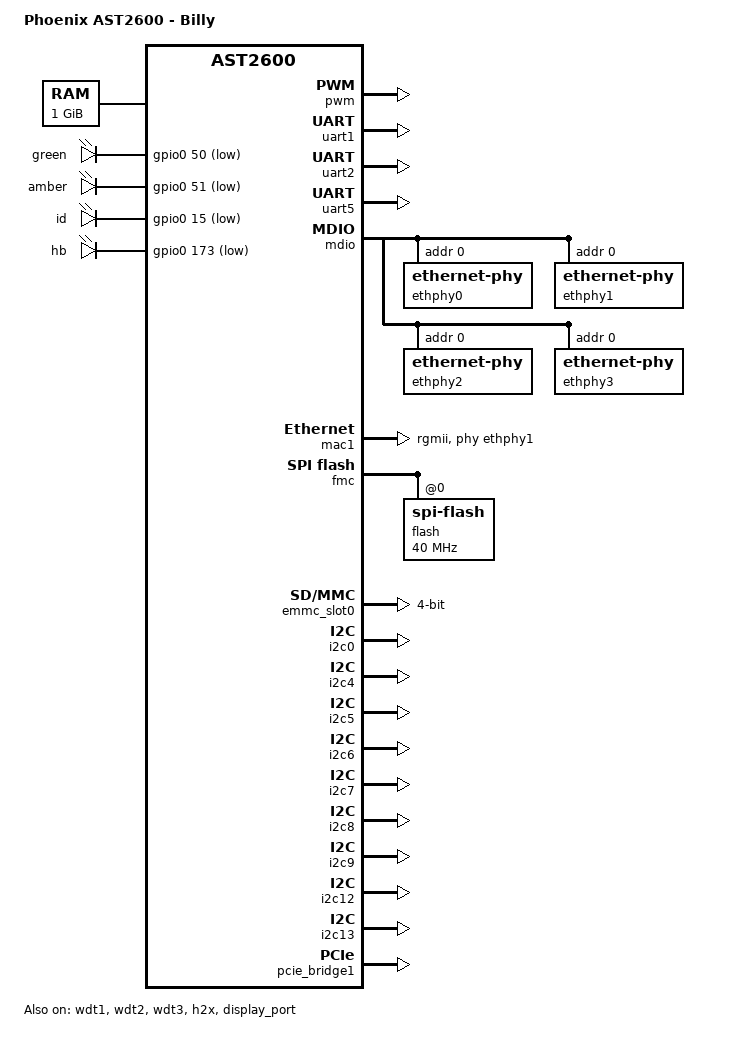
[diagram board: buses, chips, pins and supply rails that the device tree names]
// SPDX-License-Identifier: GPL-2.0+
// Copyright (c) 2019-2021 Intel Corporation
/dts-v1/;

#include "ast2600-u-boot.dtsi"

/ {
	model = "Phoenix AST2600 - Billy";
	compatible = "aspeed,ast2600-intel", "aspeed,ast2600";

	memory {
		device_type = "memory";
		reg = <0x80000000 0x40000000>;
	};

	chosen {
		stdout-path = &uart5;
	};

	aliases {
		mmc0 = &emmc_slot0;
		mmc1 = &sdhci_slot0;
		mmc2 = &sdhci_slot1;
		spi0 = &fmc;
		spi1 = &spi1;
		spi2 = &spi2;
		ethernet0 = &mac0;
		ethernet1 = &mac1;
		ethernet2 = &mac2;
		ethernet3 = &mac3;
	};

	cpus {
		cpu@0 {
			clock-frequency = <1200000000>;
		};
		cpu@1 {
			clock-frequency = <1200000000>;
		};
	};

	system-leds {
		compatible = "gpio-leds";
		green-led {
			label = "green";
			gpios = <&gpio0 50 GPIO_ACTIVE_LOW>;
			default-state = "blink";
		};
		amber-led {
			label = "amber";
			gpios = <&gpio0 51 GPIO_ACTIVE_LOW>;
			default-state = "off";
		};
		id-led {
			label = "id";
			gpios = <&gpio0 15 GPIO_ACTIVE_LOW>;
			default-state = "blink";
		};
		hb-led {
			label = "hb";
			gpios = <&gpio0 173 GPIO_ACTIVE_LOW>;
			default-state = "on";
		};
	};
};

&pwm {
	status = "okay";

	pinctrl-names = "default";
	pinctrl-0 = <&pinctrl_pwm0_default &pinctrl_pwm1_default
		     &pinctrl_pwm2_default &pinctrl_pwm3_default
		     &pinctrl_pwm4_default &pinctrl_pwm5_default
		     &pinctrl_pwm12g1_default &pinctrl_pwm13g1_default
		     &pinctrl_pwm14g1_default &pinctrl_pwm15g1_default>;
};

&gpio0 {
	status = "okay";
};

&uart1 {
	status = "okay";
};

&uart2 {
	status = "okay";
};

&uart5 {
	u-boot,dm-pre-reloc;
	status = "okay";
};

&sdrammc {
	clock-frequency = <400000000>;
};

&wdt1 {
	u-boot,dm-pre-reloc;
	status = "okay";
};

&wdt2 {
	u-boot,dm-pre-reloc;
	status = "okay";
};

&wdt3 {
	u-boot,dm-pre-reloc;
	status = "okay";
};

&mdio {
	status = "okay";
	pinctrl-names = "default";
	pinctrl-0 = <&pinctrl_mdio2_default>;
	#address-cells = <1>;
	#size-cells = <0>;
	ethphy0: ethernet-phy@0 {
		reg = <0>;
	};

	ethphy1: ethernet-phy@1 {
		reg = <0>;
	};

	ethphy2: ethernet-phy@2 {
		reg = <0>;
	};

	ethphy3: ethernet-phy@3 {
		reg = <0>;
	};
};

&mac1 {
	status = "okay";
	phy-mode = "rgmii";
	phy-handle = <&ethphy1>;
	pinctrl-names = "default";
	pinctrl-0 = <&pinctrl_rgmii2_default>;
};

&fmc {
	status = "okay";
	pinctrl-names = "default";
	pinctrl-0 = <&pinctrl_fmcquad_default>;
	flash@0 {
		compatible = "spi-flash", "sst,w25q256";
		status = "okay";
		spi-max-frequency = <40000000>;
		spi-tx-bus-width = <4>;
		spi-rx-bus-width = <4>;
	};
};

&emmc {
	timing-phase = <0x700ff>;
};

&emmc_slot0 {
	status = "okay";
	bus-width = <4>;
	pinctrl-names = "default";
	pinctrl-0 = <&pinctrl_emmc_default>;
};
&i2c0 {
	status = "okay";

	pinctrl-names = "default";
	pinctrl-0 = <&pinctrl_i2c1_default>;
};

&i2c4 {
	status = "okay";

	pinctrl-names = "default";
	pinctrl-0 = <&pinctrl_i2c5_default>;
};

&i2c5 {
	status = "okay";

	pinctrl-names = "default";
	pinctrl-0 = <&pinctrl_i2c6_default>;
};

&i2c6 {
	status = "okay";

	pinctrl-names = "default";
	pinctrl-0 = <&pinctrl_i2c7_default>;
};

&i2c7 {
	status = "okay";

	pinctrl-names = "default";
	pinctrl-0 = <&pinctrl_i2c8_default>;
};

&i2c8 {
	status = "okay";

	pinctrl-names = "default";
	pinctrl-0 = <&pinctrl_i2c9_default>;
};

&i2c9 {
	status = "okay";

	pinctrl-names = "default";
	pinctrl-0 = <&pinctrl_i2c10_default>;
};

&i2c12 {
	status = "okay";

	pinctrl-names = "default";
	pinctrl-0 = <&pinctrl_i2c13_default>;
};

&i2c13 {
	status = "okay";

	pinctrl-names = "default";
	pinctrl-0 = <&pinctrl_i2c14_default>;
};

&pcie_bridge1 {
	status = "okay";
};

&h2x {
	status = "okay";
};

&display_port {
	status = "okay";
};

&scu {
	mac0-clk-delay = <0x1d 0x1c
			  0x10 0x17
			  0x10 0x17>;
	mac1-clk-delay = <0x1d 0x10
			  0x10 0x10
			  0x10 0x10>;
	mac2-clk-delay = <0x0a 0x04
			  0x08 0x04
			  0x08 0x04>;
	mac3-clk-delay = <0x0a 0x04
			  0x08 0x04
			  0x08 0x04>;
};
